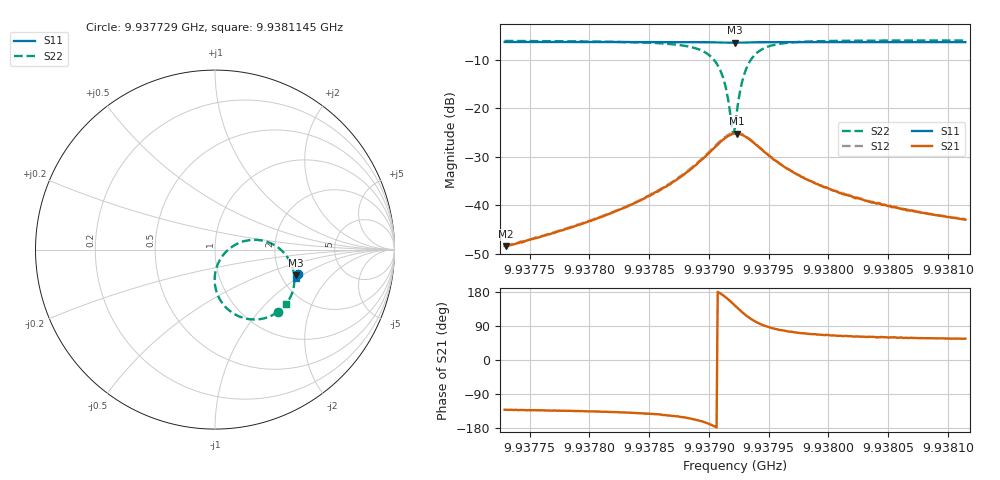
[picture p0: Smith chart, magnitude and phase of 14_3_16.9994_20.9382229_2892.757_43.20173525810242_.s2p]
#  HZ  S  RI  R  50.00
! Rohde & Schwarz Vector Network Analyzer
! Rohde-Schwarz,ZNB20-2Port,1311601062101988,3.16
! Created: UTC 3/20/2024, 10:52:43 PM
! freq[Hz]  re:S11  im:S11  re:S21  im:S21  re:S12  im:S12  re:S22  im:S22
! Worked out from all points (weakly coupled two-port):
!   401 points, 9.937729 GHz to 9.9381145 GHz, reference 50 ohm
!   highest |S21| = -25.20 dB at 9.9379237 GHz (marker M1); lowest = -48.4 dB at 9.93773 GHz (marker M2)
!   lowest |S11| = -6.5 dB at 9.9379218 GHz (marker M3), VSWR 2.80, Z = 121 - j44.6 ohm
!   |S11| at or under -10 dB: nowhere
!   |S22| runs from -25.2 to -6.0 dB; largest |S21 - S12| = 0.0026
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9.93772899e9  0.4625 -0.1338  -0.00251 -0.00288  -0.00257 -0.00281  0.3517 -0.3462
9.93772995e9  0.4625 -0.1337  -0.00252 -0.00286  -0.0026 -0.00283  0.3515 -0.3464
9.93779357e9  0.4608 -0.1384  -0.00453 -0.00457  -0.00471 -0.00461  0.3298 -0.3606
9.93785815e9  0.4585 -0.1431  -0.0115 -0.00845  -0.0118 -0.00831  0.2665 -0.3845
9.93788707e9  0.4564 -0.1454  -0.0229 -0.01  -0.0235 -0.01  0.1715 -0.3842
9.93790249e9  0.4544 -0.1463  -0.0369 -0.00506  -0.0379 -0.00457  0.0643 -0.3257
9.93790731e9  0.4536 -0.1459  -0.0422 0.000104  -0.0436 0.000918  0.0261 -0.2757
9.93791116e9  0.4527 -0.1456  -0.0464 0.00651  -0.0476 0.00788  0.0036 -0.2175
9.93791502e9  0.4521 -0.145  -0.0486 0.015  -0.0496 0.0169  -0.00084 -0.1436
9.93791888e9  0.4519 -0.144  -0.0476 0.0251  -0.0479 0.0273  0.0237 -0.064
9.93791984e9  0.4519 -0.1436  -0.0467 0.0276  -0.0469 0.0299  0.0346 -0.045
9.93792177e9  0.452 -0.1432  -0.0441 0.0326  -0.044 0.0348  0.0631 -0.0103
9.93792369e9  0.4524 -0.1428  -0.0407 0.0369  -0.0403 0.0391  0.0977 0.0177
9.93792659e9  0.4529 -0.1421  -0.0342 0.0416  -0.0333 0.0437  0.1569 0.0457
9.93793044e9  0.4538 -0.1419  -0.0249 0.0446  -0.0236 0.0463  0.236 0.0541
9.9379343e9  0.4548 -0.142  -0.0164 0.0446  -0.015 0.0456  0.303 0.0387
9.93794008e9  0.456 -0.1425  -0.00667 0.041  -0.0053 0.0414  0.3723 -0.0058
9.9379555e9  0.4571 -0.1445  0.00401 0.0287  0.0049 0.0289  0.4366 -0.1181
9.93798635e9  0.4569 -0.1481  0.00651 0.0163  0.00684 0.0162  0.436 -0.2209
9.93801334e9  0.4562 -0.1503  0.00577 0.0116  0.00616 0.0117  0.4235 -0.257
9.93805093e9  0.4551 -0.1532  0.00495 0.00843  0.00524 0.00848  0.4104 -0.2826
9.93811455e9  0.4534 -0.1575  0.00396 0.00593  0.00418 0.00594  0.3961 -0.3038
